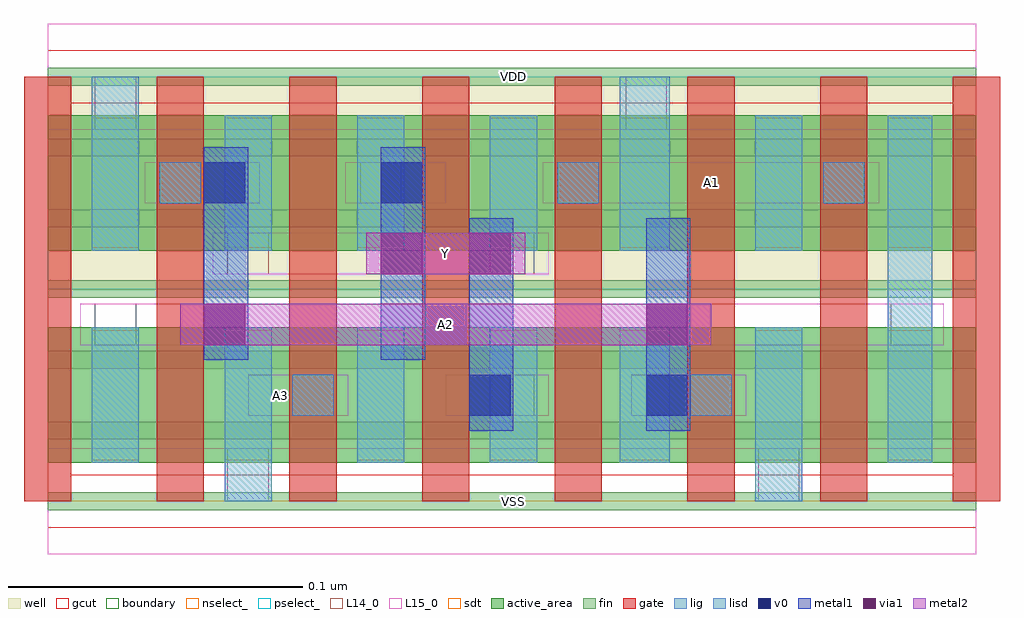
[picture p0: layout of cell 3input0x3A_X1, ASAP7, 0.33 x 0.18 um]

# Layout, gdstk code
import gdstk
lib = gdstk.Library(unit=1e-6, precision=1e-09)
def R(c, l, rs):  # rectangles x0, y0, x1, y1
    for r in rs: c.add(gdstk.rectangle(r[:2], r[2:], *l))
def A(c, l, x, y, w, h, nx, ny, dx, dy):  # array of equal rectangles
    R(c, l, [(x+i*dx, y+j*dy, x+i*dx+w, y+j*dy+h) for i in range(nx) for j in range(ny)])
def P(c, l, *ps):  # polygons
    for p in ps: c.add(gdstk.Polygon(p, *l))
well = (1, 0)
fin = (2, 0)
gate = (7, 0)
gcut = (10, 0)
active_area = (11, 0)
nselect_ = (12, 0)
pselect_ = (13, 0)
L14_0 = (14, 0)
L15_0 = (15, 0)
lig = (16, 0)
lisd = (17, 0)
v0 = (18, 0)
metal1 = (19, 0)
metal2 = (20, 0)
via1 = (21, 0)
sdt = (88, 0)
boundary = (100, 0)

c_3input0x3a_x1 = lib.new_cell('3input0x3A_X1')
R(c_3input0x3a_x1, well, [(0,0.072,0.315,0.144)])
A(c_3input0x3a_x1, fin, 0, -0.003, 0.315, 0.006, 1, 7, 0, 0.024)
A(c_3input0x3a_x1, gate, -0.008, 0, 0.016, 0.144, 8, 1, 0.045, 0)
P(c_3input0x3a_x1, gcut, [(0,-0.009),(0,0),(-0.008,0),(-0.008,0.135),(0.008,0.135),(0.008,0.009),(0.307,0.009),(0.307,0.135),(-0.008,0.135),(-0.008,0.144),(0,0.144),(0,0.153),(0.315,0.153),(0.315,0.144),(0.323,0.144),(0.323,0),(0.315,0),(0.315,-0.009)])
R(c_3input0x3a_x1, active_area, [(0,0.013,0.315,0.059), (0,0.085,0.315,0.131)])
R(c_3input0x3a_x1, nselect_, [(0,0,0.315,0.072)])
R(c_3input0x3a_x1, pselect_, [(0,0.072,0.315,0.144)])
R(c_3input0x3a_x1, L14_0, [(0.061,0,0.075,0.018), (0.241,0,0.255,0.018), (0.083,0.029,0.097,0.043), (0.15,0.029,0.165,0.043), (0.218,0.029,0.232,0.043), (0.016,0.053,0.03,0.067), (0.128,0.053,0.142,0.067), (0.286,0.053,0.3,0.067), (0.061,0.077,0.075,0.091), (0.15,0.077,0.165,0.091), (0.038,0.101,0.052,0.115), (0.106,0.101,0.12,0.115), (0.173,0.101,0.187,0.115), (0.263,0.101,0.277,0.115), (0.016,0.126,0.03,0.144), (0.196,0.126,0.21,0.144)])
R(c_3input0x3a_x1, L15_0, [(0,-0.018,0.315,0.018), (0.068,0.029,0.102,0.043), (0.135,0.029,0.17,0.043), (0.198,0.029,0.237,0.043), (0.011,0.053,0.304,0.067), (0.056,0.077,0.17,0.091), (0.033,0.101,0.072,0.115), (0.101,0.101,0.135,0.115), (0.168,0.101,0.282,0.115), (0,0.126,0.315,0.162)])
R(c_3input0x3a_x1, lig, [(0.083,0.029,0.097,0.043), (0.218,0.029,0.232,0.043), (0.128,0.053,0.142,0.067), (0.038,0.101,0.052,0.115), (0.173,0.101,0.187,0.115), (0.263,0.101,0.277,0.115)])
A(c_3input0x3a_x1, lisd, 0.06, 0.085, 0.016, 0.046, 3, 1, 0.045, 0)
R(c_3input0x3a_x1, lisd, [(0.06,0,0.076,0.059), (0.24,0,0.256,0.059), (0.015,0.013,0.031,0.059), (0.105,0.013,0.121,0.059), (0.15,0.013,0.166,0.059), (0.194,0.013,0.211,0.059), (0.285,0.013,0.3,0.131), (0.015,0.085,0.031,0.144), (0.194,0.085,0.211,0.144), (0.24,0.085,0.256,0.131)])
R(c_3input0x3a_x1, v0, [(0.143,0.029,0.157,0.043), (0.203,0.029,0.217,0.043), (0.053,0.101,0.067,0.115), (0.113,0.101,0.127,0.115)])
R(c_3input0x3a_x1, metal1, [(0.143,0.024,0.158,0.096), (0.203,0.024,0.218,0.096), (0.053,0.048,0.068,0.12), (0.113,0.048,0.128,0.12)])
R(c_3input0x3a_x1, metal2, [(0.045,0.053,0.225,0.067), (0.108,0.077,0.162,0.091)])
R(c_3input0x3a_x1, via1, [(0.053,0.053,0.067,0.067), (0.203,0.053,0.217,0.067), (0.113,0.077,0.127,0.091), (0.143,0.077,0.157,0.091)])
A(c_3input0x3a_x1, sdt, 0.015, 0.014, 0.016, 0.044, 4, 2, 0.045, 0.072)
R(c_3input0x3a_x1, sdt, [(0.194,0.014,0.211,0.058), (0.24,0.014,0.256,0.058), (0.285,0.014,0.3,0.058), (0.194,0.086,0.211,0.13), (0.24,0.086,0.256,0.13), (0.285,0.086,0.3,0.13)])
R(c_3input0x3a_x1, boundary, [(0,0,0.315,0.144)])
c_3input0x3a_x1.add(gdstk.Label('VSS', (0.158,0), layer=15, texttype=251))
c_3input0x3a_x1.add(gdstk.Label('VDD', (0.158,0.144), layer=15, texttype=251))
c_3input0x3a_x1.add(gdstk.Label('VSS', (0.158,0), layer=15, texttype=251))
c_3input0x3a_x1.add(gdstk.Label('VDD', (0.158,0.144), layer=15, texttype=251))
c_3input0x3a_x1.add(gdstk.Label('A3', (0.079,0.036), layer=15, texttype=251))
c_3input0x3a_x1.add(gdstk.Label('VSS', (0.158,0), layer=15, texttype=251))
c_3input0x3a_x1.add(gdstk.Label('VDD', (0.158,0.144), layer=15, texttype=251))
c_3input0x3a_x1.add(gdstk.Label('A1', (0.225,0.108), layer=15, texttype=251))
c_3input0x3a_x1.add(gdstk.Label('VSS', (0.158,0), layer=15, texttype=251))
c_3input0x3a_x1.add(gdstk.Label('VDD', (0.158,0.144), layer=15, texttype=251))
c_3input0x3a_x1.add(gdstk.Label('VSS', (0.158,0), layer=3, texttype=251))
c_3input0x3a_x1.add(gdstk.Label('VSS', (0.158,0), layer=3, texttype=251))
c_3input0x3a_x1.add(gdstk.Label('VSS', (0.158,0), layer=3, texttype=251))
c_3input0x3a_x1.add(gdstk.Label('VSS', (0.158,0), layer=3, texttype=251))
c_3input0x3a_x1.add(gdstk.Label('VDD', (0.158,0.144), layer=1, texttype=251))
c_3input0x3a_x1.add(gdstk.Label('VDD', (0.158,0.144), layer=1, texttype=251))
c_3input0x3a_x1.add(gdstk.Label('VDD', (0.158,0.144), layer=1, texttype=251))
c_3input0x3a_x1.add(gdstk.Label('VDD', (0.158,0.144), layer=1, texttype=251))
c_3input0x3a_x1.add(gdstk.Label('Y', (0.135,0.084), layer=20, texttype=251))
c_3input0x3a_x1.add(gdstk.Label('A2', (0.135,0.06), layer=20, texttype=251))

lib.write_gds('3input0x3A_X1.gds')
